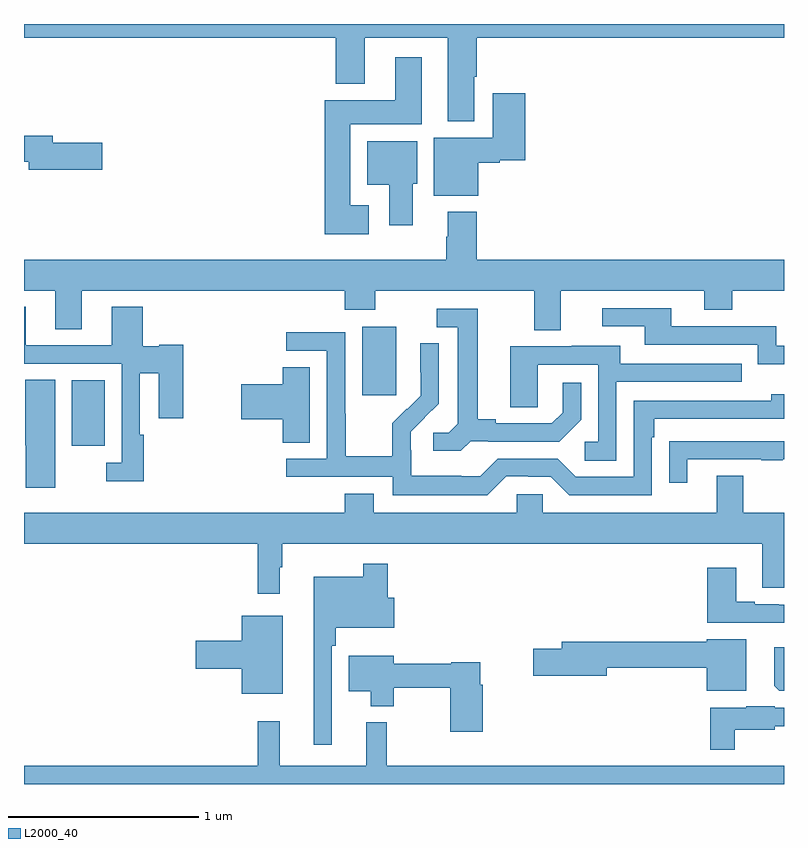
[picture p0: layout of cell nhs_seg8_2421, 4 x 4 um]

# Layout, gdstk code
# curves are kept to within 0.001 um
import gdstk
lib = gdstk.Library(unit=1e-6, precision=1e-09)
def R(c, l, rs):  # rectangles x0, y0, x1, y1
    for r in rs: c.add(gdstk.rectangle(r[:2], r[2:], *l))
def P(c, l, *ps):  # polygons
    for p in ps: c.add(gdstk.Polygon(p, *l))
L2000_40 = (2000, 40)

nhs_seg8_2421 = lib.new_cell('nhs_seg8_2421')
R(nhs_seg8_2421, L2000_40, [(263.252,1119.68,263.425,1120.024), (264.779,1119.945,264.958,1120.306)])
P(nhs_seg8_2421, L2000_40, [(265.369,1121.623),(265.382,1121.623),(265.382,1121.828),(267,1121.828),(267,1121.9),(263,1121.9),(263,1121.828),(264.641,1121.828),(264.641,1121.585),(264.793,1121.585),(264.793,1121.828),(265.229,1121.828),(265.229,1121.387),(265.369,1121.387)],
  [(264.814,1120.945),(264.718,1120.945),(264.718,1121.372),(265.093,1121.372),(265.093,1121.725),(264.953,1121.725),(264.953,1121.5),(264.584,1121.5),(264.584,1120.793),(264.814,1120.793)],
  [(265.39,1121.171),(265.503,1121.171),(265.503,1121.183),(265.637,1121.183),(265.637,1121.536),(265.466,1121.536),(265.466,1121.302),(265.157,1121.302),(265.157,1120.997),(265.39,1120.997)],
  [(263.413,1121.276),(263.152,1121.276),(263.152,1121.312),(263,1121.312),(263,1121.176),(263.024,1121.176),(263.024,1121.134),(263.413,1121.134)],
  [(265.045,1121.058),(265.069,1121.058),(265.069,1121.284),(264.806,1121.284),(264.806,1121.054),(264.923,1121.054),(264.923,1120.842),(265.045,1120.842)],
  [(265.825,1120.496),(266.579,1120.496),(266.579,1120.397),(266.727,1120.397),(266.727,1120.496),(267,1120.496),(267,1120.66),(265.382,1120.66),(265.382,1120.912),(265.229,1120.912),(265.229,1120.781),(265.222,1120.781),(265.222,1120.66),(263,1120.66),(263,1120.496),(263.165,1120.496),(263.165,1120.294),(263.305,1120.294),(263.305,1120.496),(264.689,1120.496),(264.689,1120.397),(264.849,1120.397),(264.849,1120.496),(265.685,1120.496),(265.685,1120.288),(265.825,1120.288)],
  [(263.63,1119.737),(263.61,1119.737),(263.61,1120.061),(263.708,1120.061),(263.708,1119.825),(263.838,1119.825),(263.838,1120.213),(263.712,1120.213),(263.712,1120.203),(263.624,1120.203),(263.624,1120.411),(263.462,1120.411),(263.462,1120.209),(263.008,1120.209),(263.008,1120.411),(263,1120.411),(263,1120.113),(263.514,1120.113),(263.514,1119.591),(263.433,1119.591),(263.433,1119.494),(263.63,1119.494)],
  [(267,1120.206),(266.958,1120.206),(266.958,1120.308),(266.407,1120.308),(266.407,1120.404),(266.043,1120.404),(266.043,1120.308),(266.267,1120.308),(266.267,1120.212),(266.862,1120.212),(266.862,1120.109),(267,1120.109)],
  [(265.35,1119.705),(265.444,1119.705),(265.444,1119.702),(265.816,1119.702),(265.932,1119.818),(265.932,1120.012),(265.835,1120.012),(265.835,1119.855),(265.778,1119.798),(265.483,1119.798),(265.483,1119.821),(265.387,1119.821),(265.387,1120.401),(265.173,1120.401),(265.173,1120.305),(265.283,1120.305),(265.283,1119.797),(265.236,1119.75),(265.155,1119.75),(265.155,1119.653),(265.298,1119.653)],
  [(265.539,1119.519),(265.655,1119.519),(265.655,1119.516),(265.773,1119.516),(265.869,1119.42),(266.304,1119.42),(266.304,1119.725),(266.317,1119.725),(266.317,1119.822),(267,1119.822),(267,1119.952),(266.933,1119.952),(266.933,1119.918),(266.208,1119.918),(266.208,1119.516),(265.905,1119.516),(265.809,1119.612),(265.494,1119.612),(265.401,1119.519),(265.301,1119.519),(265.301,1119.523),(265.038,1119.523),(265.038,1119.657),(265.036,1119.657),(265.036,1119.754),(265.182,1119.902),(265.182,1120.22),(265.086,1120.22),(265.086,1120.066),(265.088,1120.066),(265.088,1119.944),(265.017,1119.873),(265.014,1119.876),(264.937,1119.799),(264.937,1119.625),(264.693,1119.625),(264.693,1119.848),(264.69,1119.848),(264.69,1120.278),(264.381,1120.278),(264.381,1120.179),(264.594,1120.179),(264.594,1119.612),(264.381,1119.612),(264.381,1119.516),(264.942,1119.516),(264.942,1119.419),(265.439,1119.419)],
  [(266.118,1120.017),(266.777,1120.017),(266.777,1120.113),(266.137,1120.113),(266.137,1120.207),(265.883,1120.207),(265.883,1120.203),(265.559,1120.203),(265.559,1119.883),(265.704,1119.883),(265.704,1120.107),(266.022,1120.107),(266.022,1119.702),(265.95,1119.702),(265.95,1119.601),(266.118,1119.601)],
  [(264.505,1120.094),(264.362,1120.094),(264.362,1120.004),(264.144,1120.004),(264.144,1119.821),(264.362,1119.821),(264.362,1119.697),(264.505,1119.697)],
  [(263.164,1120.028),(263.006,1120.028),(263.006,1119.684),(263.009,1119.684),(263.009,1119.459),(263.164,1119.459)],
  [(266.491,1119.609),(266.881,1119.609),(266.881,1119.604),(266.993,1119.604),(266.993,1119.609),(267,1119.609),(267,1119.705),(266.497,1119.705),(266.497,1119.704),(266.395,1119.704),(266.395,1119.486),(266.491,1119.486)],
  [(264.346,1119.041),(264.358,1119.041),(264.358,1119.164),(266.885,1119.164),(266.885,1118.932),(267,1118.932),(267,1119.328),(266.785,1119.328),(266.785,1119.523),(266.645,1119.523),(266.645,1119.328),(265.731,1119.328),(265.731,1119.426),(265.593,1119.426),(265.593,1119.328),(264.841,1119.328),(264.841,1119.427),(264.689,1119.427),(264.689,1119.328),(263,1119.328),(263,1119.164),(264.229,1119.164),(264.229,1118.901),(264.346,1118.901)],
  [(264.621,1118.627),(264.641,1118.627),(264.641,1118.723),(264.949,1118.723),(264.949,1118.881),(264.914,1118.881),(264.914,1119.058),(264.786,1119.058),(264.786,1118.992),(264.524,1118.992),(264.524,1118.106),(264.621,1118.106)],
  [(267,1118.844),(266.972,1118.844),(266.972,1118.847),(266.845,1118.847),(266.845,1118.86),(266.749,1118.86),(266.749,1119.037),(266.597,1119.037),(266.597,1118.75),(267,1118.75)],
  [(264.361,1118.785),(264.146,1118.785),(264.146,1118.654),(263.904,1118.654),(263.904,1118.507),(264.146,1118.507),(264.146,1118.375),(264.361,1118.375)],
  [(266.8,1118.662),(266.594,1118.662),(266.594,1118.648),(265.829,1118.648),(265.829,1118.612),(265.68,1118.612),(265.68,1118.47),(266.068,1118.47),(266.068,1118.512),(266.594,1118.512),(266.594,1118.39),(266.8,1118.39)],
  [(267,1118.62),(266.948,1118.62),(266.948,1118.416),(266.974,1118.39),(267,1118.39)],
  [(265.415,1118.423),(265.402,1118.423),(265.402,1118.542),(265.248,1118.542),(265.248,1118.534),(264.946,1118.534),(264.946,1118.575),(264.71,1118.575),(264.71,1118.387),(264.824,1118.387),(264.824,1118.309),(264.946,1118.309),(264.946,1118.406),(265.244,1118.406),(265.244,1118.175),(265.415,1118.175)],
  [(266.74,1118.186),(266.952,1118.186),(266.952,1118.205),(267,1118.205),(267,1118.301),(266.952,1118.301),(266.952,1118.308),(266.802,1118.308),(266.802,1118.302),(266.611,1118.302),(266.611,1118.081),(266.74,1118.081)],
  [(267,1117.996),(264.91,1117.996),(264.91,1118.224),(264.8,1118.224),(264.8,1117.996),(264.347,1117.996),(264.347,1118.23),(264.229,1118.23),(264.229,1117.996),(263,1117.996),(263,1117.9),(267,1117.9)])

lib.write_gds('nhs_seg8_2421.gds')
